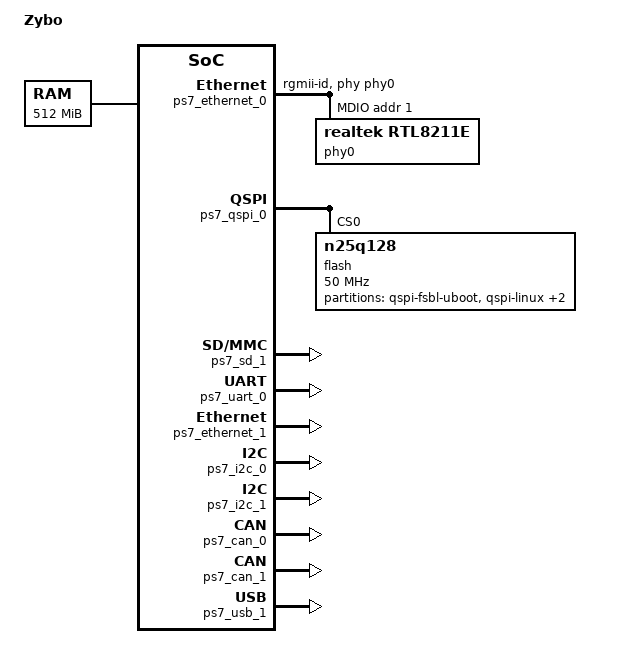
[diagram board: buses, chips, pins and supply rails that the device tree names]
/*
 * Zybo DTS file header for generic boot.
 */

/ {
	model = "Zybo";
	chosen {
		bootargs = "console=ttyPS0,115200 earlyprintk root=/dev/ram rw";
		linux,stdout-path = "/axi@0/serial@e0001000";
	} ;
	ps7_ddr_0: memory@0 {
		device_type = "memory";
		reg = <0x0 0x20000000>;
	} ;
	ps7_axi_interconnect_0: amba@0 {
		ps7_slcr_0: ps7-slcr@f8000000 {
			clkc: clkc@100 {
				ps-clk-frequency = <50000000>;
			};
		} ;
		ps7_ethernet_0: ps7-ethernet@e000b000 {
			xlnx,ptp-enet-clock = <108333336>;
			phy-handle = <&phy0>;
			phy-mode = "rgmii-id";
			mdio {
				#address-cells = <1>;
				#size-cells = <0>;
				phy0: phy@1 {
					compatible = "realtek,RTL8211E";
					device_type = "ethernet-phy";
					reg = <1>;
				} ;
			} ;
		} ;
		ps7_usb_0: ps7-usb@e0002000 {
			xlnx,usb-reset = "MIO 46";
		} ;
		ps7_qspi_0: ps7-qspi@e000d000 {
			flash@0 {
				compatible = "n25q128";
				reg = <0x0>;
				spi-tx-bus-width = <1>;
				spi-rx-bus-width = <4>;
				spi-max-frequency = <50000000>;
				#address-cells = <1>;
				#size-cells = <1>;
				partition@qspi-fsbl-uboot {
					label = "qspi-fsbl-uboot";
					reg = <0x0 0x400000>;
				};
				partition@qspi-linux {
					label = "qspi-linux";
					reg = <0x400000 0x500000>;
				};
				partition@qspi-device-tree {
					label = "qspi-device-tree";
					reg = <0x900000 0x20000>;
				};
				partition@qspi-user {
					label = "qspi-user";
					reg = <0x920000 0x6E0000>;
				};
			};
		} ;

		/* Disabled Devices */
		ps7_sd_1: ps7-sdio@e0101000 { compatible = "invalid"; };
		ps7_uart_0: serial@e0000000 { compatible = "invalid"; };
		ps7_ethernet_1: ps7-ethernet@e000c000 { compatible = "invalid"; };
		ps7_i2c_0: ps7-i2c@e0004000 { compatible = "invalid"; };
		ps7_i2c_1: ps7-i2c@e0005000 { compatible = "invalid"; };
		ps7_wdt_0: ps7-wdt@f8005000 { compatible = "invalid"; };
		ps7_can_0: ps7-can@e0008000 { compatible = "invalid"; };
		ps7_can_1: ps7-can@e0009000 { compatible = "invalid"; };
		ps7_usb_1: ps7-usb@e0003000 { compatible = "invalid"; };
	} ;
} ;
